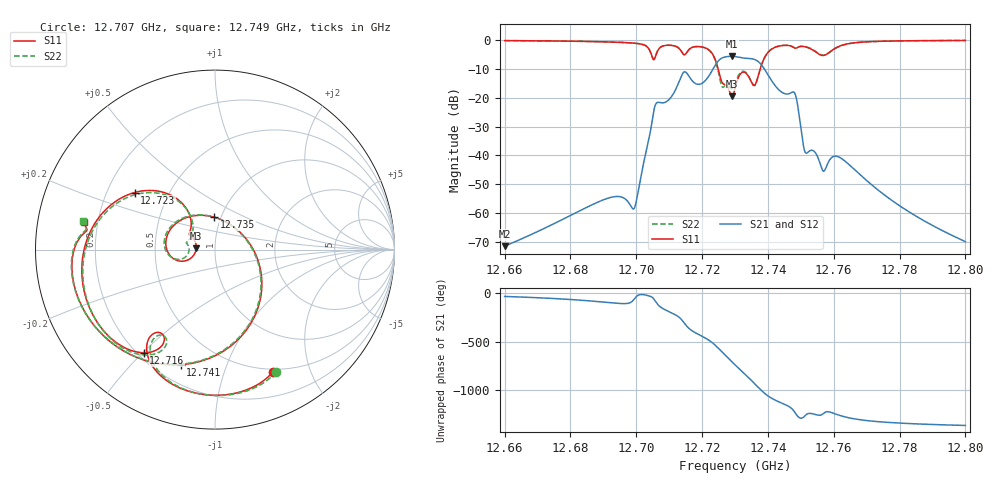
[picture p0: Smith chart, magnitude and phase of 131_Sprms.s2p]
! TOUCHSTONE file generated by CST MICROWAVE STUDIO
! Date and time: Wed Jul 31 17:25:20 2024
! Project name: WaveGuide_BPF-Ver4.1_U-shape_Ku_T3_C4_CWA_2.cst
! Parameters = {cavity_h=16; cavity_l0=10; cavity_l1=15.2296; cavity_l2=16.8154; cavity_l3=17.0889; cavity_l4=17.2991; cavity_l5=17.1416; cavity_l6=17.5982; cavity_r=2.5; cavity_screw_l=0.5; cavity_screw_r=1.5; cavity_w=8; iris_h00=0; iris_h01=8.8161; iris_h112=0; iris_h12=5.61; iris_h211=3.6634; ir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
! Header version: 2018
! Port assignment regex: !\s*Touchstone port\s*([0-9]+)\s*=\s*(CST MWS port|CST DS port)\s*([0-9]+|Zmin|Zmax)\s*\(\"(.*)\"\)(\s*mode\s*([0-9]+))?.*
! Touchstone port assignment:
! Touchstone port 1 = CST MWS port 1 ("")
! Touchstone port 2 = CST MWS port 2 ("")
# GHz S RI R 50
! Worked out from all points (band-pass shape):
!   5001 points, 12.66 GHz to 12.8 GHz, reference 50 ohm
!   highest |S21| = -5.63 dB at 12.729 GHz (marker M1); lowest = -71.5 dB at 12.66 GHz (marker M2)
!   |S21| within 3 dB of the highest: 12.72406 GHz to 12.73805 GHz (13.99 MHz wide, 0.11 % of centre)
!   lowest |S11| = -19.6 dB at 12.729 GHz (marker M3), VSWR 1.23, Z = 40.5 + j0.625 ohm
!   |S11| at or under -10 dB: 12.72487 GHz to 12.73766 GHz (12.79 MHz wide, 0.1 % of centre)
!   |S22| runs from -16.8 to -0.1 dB; largest |S21 - S12| = 1e-09
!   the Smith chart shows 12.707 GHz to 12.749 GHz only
!   S11 on the Smith chart (normalised r, x): 12.707 GHz: 0.47, -1.47; 12.716 GHz: 0.22, -0.50; 12.723 GHz: 0.32, +0.29; 12.735 GHz: 0.93, +0.35; 12.741 GHz: 0.30, -0.70; 12.749 GHz: 0.15, +0.10
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12.66  0.438 0.8732  0.00023 -0.000135  0.00023 -0.000135  0.4354 0.8747
12.68335  0.8643 0.3913  0.000387 -0.00106  0.000387 -0.00106  0.8605 0.4011
12.69931  0.7014 -0.5366  0.000591 -0.00104  0.000591 -0.00104  0.7164 -0.5187
12.70668  0.3741 -0.5614  -0.0407 -0.0726  -0.0407 -0.0726  0.3937 -0.5621
12.70746  0.3214 -0.6823  -0.065 -0.0497  -0.065 -0.0497  0.341 -0.6802
12.7162  -0.3971 -0.5747  0.2252 -0.0281  0.2252 -0.0281  -0.3807 -0.5877
12.72336  -0.4482 0.318  -0.2918 -0.1241  -0.2918 -0.1241  -0.4435 0.3063
12.72658  -0.1407 0.0984  -0.0417 0.4999  -0.0417 0.4999  -0.1428 0.0564
12.72896  -0.1045 0.0193  0.5044 0.1378  0.5044 0.1378  -0.1441 0.00225
12.72913  -0.1047 0.00762  0.5152 0.0883  0.5152 0.0883  -0.1446 -0.00591
12.73  -0.1353 -0.0482  0.4898 -0.1682  0.4898 -0.1682  -0.1711 -0.0455
12.73241  -0.2736 0.0463  -0.056 -0.4855  -0.056 -0.4855  -0.2814 0.0578
12.73512  -0.00342 0.1801  -0.4711 0.0463  -0.4711 0.0463  -0.00698 0.1816
12.73731  0.251 -0.1005  -0.0639 0.4066  -0.0639 0.4066  0.247 -0.1025
12.74072  -0.1907 -0.6413  0.2141 0.0107  0.2141 0.0107  -0.202 -0.6391
12.7491  -0.7298 0.1554  -0.0682 0.0168  -0.0682 0.0168  -0.7339 0.1602
12.75117  -0.6179 0.4525  -0.0117 0.00198  -0.0117 0.00198  -0.6248 0.4532
12.75335  -0.2211 0.6485  -0.0118 -0.00327  -0.0118 -0.00327  -0.2417 0.6528
12.75719  0.5445 -0.00409  -0.0049 -0.00238  -0.0049 -0.00238  0.5449 0.0507
12.76128  -0.0602 -0.7609  -0.0095 -0.000445  -0.0095 -0.000445  -0.0193 -0.7539
12.77668  -0.9498 -0.132  -0.000443 0.00176  -0.000443 0.00176  -0.9482 -0.138
12.8  -0.9191 0.3489  9.47e-05 0.000306  9.47e-05 0.000306  -0.9191 0.3485
